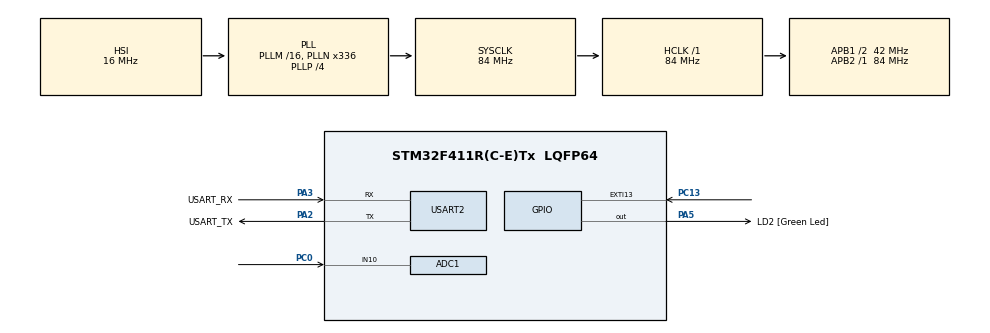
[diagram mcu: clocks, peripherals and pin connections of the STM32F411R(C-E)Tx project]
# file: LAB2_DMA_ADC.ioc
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ADC1.Channel-1\#ChannelRegularConversion=ADC_CHANNEL_10
ADC1.Channel-4\#ChannelRegularConversion=ADC_CHANNEL_TEMPSENSOR
ADC1.ContinuousConvMode=ENABLE
ADC1.DMAContinuousRequests=ENABLE
ADC1.DiscontinuousConvMode=DISABLE
ADC1.EOCSelection=ADC_EOC_SEQ_CONV
ADC1.NbrOfConversion=2
ADC1.NbrOfConversionFlag=1
ADC1.Rank-1\#ChannelRegularConversion=1
ADC1.Rank-4\#ChannelRegularConversion=2
ADC1.SamplingTime-1\#ChannelRegularConversion=ADC_SAMPLETIME_84CYCLES
ADC1.SamplingTime-4\#ChannelRegularConversion=ADC_SAMPLETIME_3CYCLES
ADC1.ScanConvMode=ENABLE
ADC1.master=1
Dma.ADC1.0.Direction=DMA_PERIPH_TO_MEMORY
Dma.ADC1.0.FIFOMode=DMA_FIFOMODE_DISABLE
Dma.ADC1.0.Instance=DMA2_Stream0
Dma.ADC1.0.MemDataAlignment=DMA_MDATAALIGN_HALFWORD
Dma.ADC1.0.MemInc=DMA_MINC_ENABLE
Dma.ADC1.0.Mode=DMA_CIRCULAR
Dma.ADC1.0.PeriphDataAlignment=DMA_PDATAALIGN_HALFWORD
Dma.ADC1.0.PeriphInc=DMA_PINC_DISABLE
Dma.ADC1.0.Priority=DMA_PRIORITY_LOW
Dma.Request0=ADC1
Mcu.Family=STM32F4
Mcu.Name=STM32F411R(C-E)Tx
Mcu.Package=LQFP64
NVIC.DMA2_Stream0_IRQn=true\:0\:0\:false\:false\:true\:false\:true
NVIC.EXTI15_10_IRQn=true\:0\:0\:false\:false\:true\:true\:true
NVIC.PriorityGroup=NVIC_PRIORITYGROUP_0
PA13.GPIO_Label=TMS
PA13.Mode=Serial_Wire
PA13.Signal=SYS_JTMS-SWDIO
PA14.GPIO_Label=TCK
PA14.Mode=Serial_Wire
PA14.Signal=SYS_JTCK-SWCLK
PA2.GPIO_Label=USART_TX
PA2.Mode=Asynchronous
PA2.Signal=USART2_TX
PA3.GPIO_Label=USART_RX
PA3.Mode=Asynchronous
PA3.Signal=USART2_RX
PA5.GPIO_Label=LD2 [Green Led]
PA5.Signal=GPIO_Output
PB3.GPIO_Label=SWO
PB3.Signal=SYS_JTDO-SWO
PC0.Signal=ADCx_IN10
PC13-ANTI_TAMP.Signal=GPXTI13
PC14-OSC32_IN.Mode=LSE-External-Oscillator
PC14-OSC32_IN.Signal=RCC_OSC32_IN
PC15-OSC32_OUT.Mode=LSE-External-Oscillator
PC15-OSC32_OUT.Signal=RCC_OSC32_OUT
PH0\ -\ OSC_IN.Mode=HSE-External-Clock-Source
PH0\ -\ OSC_IN.Signal=RCC_OSC_IN
PH1\ -\ OSC_OUT.Mode=HSE-External-Clock-Source
PH1\ -\ OSC_OUT.Signal=RCC_OSC_OUT
ProjectManager.HeapSize=0x200
ProjectManager.StackSize=0x400
ProjectManager.TargetToolchain=STM32CubeIDE
RCC.48MHZClocksFreq_Value=84000000
RCC.AHBFreq_Value=84000000
RCC.APB1CLKDivider=RCC_HCLK_DIV2
RCC.APB1Freq_Value=42000000
RCC.APB1TimFreq_Value=84000000
RCC.APB2Freq_Value=84000000
RCC.APB2TimFreq_Value=84000000
RCC.CortexFreq_Value=84000000
RCC.FLatency-AdvancedSettings=FLASH_LATENCY_2
RCC.HCLKFreq_Value=84000000
RCC.HSE_VALUE=8000000
RCC.HSI_VALUE=16000000
RCC.PLLN=336
RCC.PLLP=RCC_PLLP_DIV4
RCC.SYSCLKFreq_VALUE=84000000
RCC.SYSCLKSource=RCC_SYSCLKSOURCE_PLLCLK
RCC.VCOOutputFreq_Value=336000000
SH.ADCx_IN10.0=ADC1_IN10,IN10
USART2.VirtualMode=VM_ASYNC
VP_ADC1_TempSens_Input.Mode=IN-TempSens
board=NUCLEO-F411RE

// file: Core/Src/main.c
/* USER CODE BEGIN Header */
/**
 ******************************************************************************
 * @file           : main.c
 * @brief          : Main program body
 ******************************************************************************
 * @attention
 *
 * Copyright (c) 2023 STMicroelectronics.
 * All rights reserved.
 *
 * This software is licensed under terms that can be found in the LICENSE file
 * in the root directory of this software component.
 * If no LICENSE file comes with this software, it is provided AS-IS.
 *
 ******************************************************************************
 */
/* USER CODE END Header */
#include "main.h"

ADC_HandleTypeDef hadc1;
DMA_HandleTypeDef hdma_adc1;

UART_HandleTypeDef huart2;

/* USER CODE BEGIN PV */
//declare Structure of adc for polling convertion
uint16_t ADC_RAW[20];
float Volt_Converted_Av = 0;
float Temp_Converted_Av = 0;

/* USER CODE END PV */

void SystemClock_Config(void);
static void MX_GPIO_Init(void);
static void MX_USART2_UART_Init(void);
static void MX_DMA_Init(void);
static void MX_ADC1_Init(void);

/* USER CODE BEGIN PFP */
void VAR_UNIT();
/* USER CODE END PFP */

int main(void) {

	/* MCU Configuration--------------------------------------------------------*/

	/* Reset of all peripherals, Initializes the Flash interface and the Systick. */
	HAL_Init();

	/* Configure the system clock */
	SystemClock_Config();

	/* Initialize all configured peripherals */
	MX_GPIO_Init();
	MX_USART2_UART_Init();
	MX_DMA_Init();
	MX_ADC1_Init();
	/* USER CODE BEGIN 2 */
	HAL_ADC_Start_DMA(&hadc1, ADC_RAW, 20);

	/* USER CODE END 2 */

	/* Infinite loop */
	while (1) {
		static uint32_t timestamp = 0;
		if (HAL_GetTick() >= timestamp) {
			timestamp = HAL_GetTick() + 1000;
			VAR_SORT();
		}

	}
}

void SystemClock_Config(void) {
	RCC_OscInitTypeDef RCC_OscInitStruct = { 0 };
	RCC_ClkInitTypeDef RCC_ClkInitStruct = { 0 };

	/** Configure the main internal regulator output voltage
	 */
	__HAL_RCC_PWR_CLK_ENABLE();
	__HAL_PWR_VOLTAGESCALING_CONFIG(PWR_REGULATOR_VOLTAGE_SCALE1);
	/** Initializes the RCC Oscillators according to the specified parameters
	 * in the RCC_OscInitTypeDef structure.
	 */
	RCC_OscInitStruct.OscillatorType = RCC_OSCILLATORTYPE_HSI;
	RCC_OscInitStruct.HSIState = RCC_HSI_ON;
	RCC_OscInitStruct.HSICalibrationValue = RCC_HSICALIBRATION_DEFAULT;
	RCC_OscInitStruct.PLL.PLLState = RCC_PLL_ON;
	RCC_OscInitStruct.PLL.PLLSource = RCC_PLLSOURCE_HSI;
	RCC_OscInitStruct.PLL.PLLM = 16;
	RCC_OscInitStruct.PLL.PLLN = 336;
	RCC_OscInitStruct.PLL.PLLP = RCC_PLLP_DIV4;
	RCC_OscInitStruct.PLL.PLLQ = 4;
	if (HAL_RCC_OscConfig(&RCC_OscInitStruct) != HAL_OK) {
		Error_Handler();
	}
	/** Initializes the CPU, AHB and APB buses clocks
	 */
	RCC_ClkInitStruct.ClockType = RCC_CLOCKTYPE_HCLK | RCC_CLOCKTYPE_SYSCLK
			| RCC_CLOCKTYPE_PCLK1 | RCC_CLOCKTYPE_PCLK2;
	RCC_ClkInitStruct.SYSCLKSource = RCC_SYSCLKSOURCE_PLLCLK;
	RCC_ClkInitStruct.AHBCLKDivider = RCC_SYSCLK_DIV1;
	RCC_ClkInitStruct.APB1CLKDivider = RCC_HCLK_DIV2;
	RCC_ClkInitStruct.APB2CLKDivider = RCC_HCLK_DIV1;

	if (HAL_RCC_ClockConfig(&RCC_ClkInitStruct, FLASH_LATENCY_2) != HAL_OK) {
		Error_Handler();
	}
}

static void MX_ADC1_Init(void) {

	ADC_ChannelConfTypeDef sConfig = { 0 };

	/** Configure the global features of the ADC (Clock, Resolution, Data Alignment and number of conversion)
	 */
	hadc1.Instance = ADC1;
	hadc1.Init.ClockPrescaler = ADC_CLOCK_SYNC_PCLK_DIV4;
	hadc1.Init.Resolution = ADC_RESOLUTION_12B;
	hadc1.Init.ScanConvMode = ENABLE;
	hadc1.Init.ContinuousConvMode = ENABLE;
	hadc1.Init.DiscontinuousConvMode = DISABLE;
	hadc1.Init.ExternalTrigConvEdge = ADC_EXTERNALTRIGCONVEDGE_NONE;
	hadc1.Init.ExternalTrigConv = ADC_SOFTWARE_START;
	hadc1.Init.DataAlign = ADC_DATAALIGN_RIGHT;
	hadc1.Init.NbrOfConversion = 2;
	hadc1.Init.DMAContinuousRequests = ENABLE;
	hadc1.Init.EOCSelection = ADC_EOC_SEQ_CONV;
	if (HAL_ADC_Init(&hadc1) != HAL_OK) {
		Error_Handler();
	}
	/** Configure for the selected ADC regular channel its corresponding rank in the sequencer and its sample time.
	 */
	sConfig.Channel = ADC_CHANNEL_10;
	sConfig.Rank = 1;
	sConfig.SamplingTime = ADC_SAMPLETIME_84CYCLES;
	if (HAL_ADC_ConfigChannel(&hadc1, &sConfig) != HAL_OK) {
		Error_Handler();
	}
	/** Configure for the selected ADC regular channel its corresponding rank in the sequencer and its sample time.
	 */
	sConfig.Channel = ADC_CHANNEL_TEMPSENSOR;
	sConfig.Rank = 2;
	if (HAL_ADC_ConfigChannel(&hadc1, &sConfig) != HAL_OK) {
		Error_Handler();
	}

}

static void MX_USART2_UART_Init(void) {

	huart2.Instance = USART2;
	huart2.Init.BaudRate = 115200;
	huart2.Init.WordLength = UART_WORDLENGTH_8B;
	huart2.Init.StopBits = UART_STOPBITS_1;
	huart2.Init.Parity = UART_PARITY_NONE;
	huart2.Init.Mode = UART_MODE_TX_RX;
	huart2.Init.HwFlowCtl = UART_HWCONTROL_NONE;
	huart2.Init.OverSampling = UART_OVERSAMPLING_16;
	if (HAL_UART_Init(&huart2) != HAL_OK) {
		Error_Handler();
	}

}

static void MX_DMA_Init(void) {

	/* DMA controller clock enable */
	__HAL_RCC_DMA2_CLK_ENABLE();

	/* DMA interrupt init */
	/* DMA2_Stream0_IRQn interrupt configuration */
	HAL_NVIC_SetPriority(DMA2_Stream0_IRQn, 0, 0);
	HAL_NVIC_EnableIRQ(DMA2_Stream0_IRQn);

}

static void MX_GPIO_Init(void) {
	GPIO_InitTypeDef GPIO_InitStruct = { 0 };

	/* GPIO Ports Clock Enable */
	__HAL_RCC_GPIOC_CLK_ENABLE();
	__HAL_RCC_GPIOH_CLK_ENABLE();
	__HAL_RCC_GPIOA_CLK_ENABLE();
	__HAL_RCC_GPIOB_CLK_ENABLE();

	/*Configure GPIO pin Output Level */
	HAL_GPIO_WritePin(LD2_GPIO_Port, LD2_Pin, GPIO_PIN_RESET);

	/*Configure GPIO pin : PC13 */
	GPIO_InitStruct.Pin = GPIO_PIN_13;
	GPIO_InitStruct.Mode = GPIO_MODE_IT_RISING;
	GPIO_InitStruct.Pull = GPIO_NOPULL;
	HAL_GPIO_Init(GPIOC, &GPIO_InitStruct);

	/*Configure GPIO pin : LD2_Pin */
	GPIO_InitStruct.Pin = LD2_Pin;
	GPIO_InitStruct.Mode = GPIO_MODE_OUTPUT_PP;
	GPIO_InitStruct.Pull = GPIO_NOPULL;
	GPIO_InitStruct.Speed = GPIO_SPEED_FREQ_LOW;
	HAL_GPIO_Init(LD2_GPIO_Port, &GPIO_InitStruct);

	/* EXTI interrupt init*/
	HAL_NVIC_SetPriority(EXTI15_10_IRQn, 0, 0);
	HAL_NVIC_EnableIRQ(EXTI15_10_IRQn);

}

/* USER CODE BEGIN 4 */

void VAR_SORT() {
	float Volt_Converted_In[10] = { 0 };
	float Temp_Converted_In[10] = { 0 };
    int i = 0; //volt
    int j = 0; //temp
    int var1, var2;
    for (var1 = 0; var1 < 20; var1++) {
        if (var1 % 2 == 0) {
            Volt_Converted_In[i] = (ADC_RAW[var1]*(3.3)*1000/4096)*2;
            i++;
            if (i == 9) {
                for (var2 = 0; var2 < 10; ++var2) {
                    Volt_Converted_Av += Volt_Converted_In[var2];
                }
                Volt_Converted_Av = Volt_Converted_Av / 10;
                i = 0;
            } else {
                Temp_Converted_In[j] = ((((ADC_RAW[var1]*3.3)/4096)-0.76)/0.25)+25+273.15;
                j++;
                if (j == 9) {
                    for (var2 = 0; var2 < 10; ++var2) {
                        Temp_Converted_Av += Temp_Converted_In[var2];
                    }
                    Temp_Converted_Av = Temp_Converted_Av / 10;
                    j = 0;
                }
            }
        }
    }
}
//void HAL_GPIO_EXTI_Callback(uint16_t GPIO_Pin)
//{
//	if(GPIO_Pin == GPIO_PIN_13)
//	{
//		HAL_ADC_Start_DMA(&hadc1, ADC_RAW, 20);
//	}
//
//}
//void HAL_ADC_ConvCpltCallback(ADC_HandleTypeDef* hadc)
//{
//	ADC_RAW = HAL_ADC_GetValue(&hadc1);
//}
/* USER CODE END 4 */

void Error_Handler(void) {
	__disable_irq();
	while (1) {
	}
}

/************************ (C) COPYRIGHT STMicroelectronics *****END OF FILE****/
